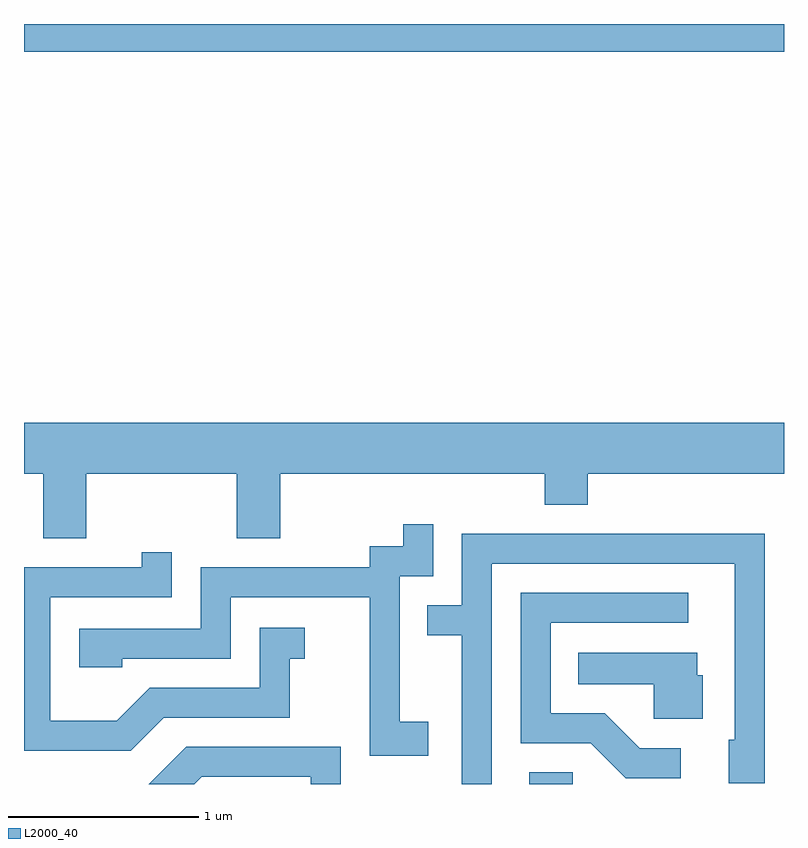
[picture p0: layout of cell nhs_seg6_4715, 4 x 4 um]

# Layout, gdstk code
import gdstk
lib = gdstk.Library(unit=1e-6, precision=1e-09)
def R(c, l, rs):  # rectangles x0, y0, x1, y1
    for r in rs: c.add(gdstk.rectangle(r[:2], r[2:], *l))
def P(c, l, *ps):  # polygons
    for p in ps: c.add(gdstk.Polygon(p, *l))
L2000_40 = (2000, 40)

nhs_seg6_4715 = lib.new_cell('nhs_seg6_4715')
R(nhs_seg6_4715, L2000_40, [(332.271,1566.162,332.499,1566.224), (329.611,1570.016,333.611,1570.162)])
P(nhs_seg6_4715, L2000_40, [(329.939,1567.796),(330.731,1567.796),(330.731,1567.456),(330.959,1567.456),(330.959,1567.796),(332.351,1567.796),(332.351,1567.631),(332.579,1567.631),(332.579,1567.796),(333.611,1567.796),(333.611,1568.064),(329.611,1568.064),(329.611,1567.796),(329.711,1567.796),(329.711,1567.456),(329.939,1567.456)],
  [(331.739,1566.489),(331.589,1566.489),(331.589,1567.256),(331.764,1567.256),(331.764,1567.528),(331.606,1567.528),(331.606,1567.414),(331.431,1567.414),(331.431,1567.304),(330.541,1567.304),(330.541,1566.979),(329.901,1566.979),(329.901,1566.776),(330.129,1566.776),(330.129,1566.821),(330.699,1566.821),(330.699,1567.146),(331.431,1567.146),(331.431,1566.311),(331.739,1566.311)],
  [(332.074,1567.321),(333.351,1567.321),(333.351,1566.394),(333.321,1566.394),(333.321,1566.166),(333.509,1566.166),(333.509,1567.479),(331.916,1567.479),(331.916,1567.104),(331.733,1567.104),(331.733,1566.946),(331.916,1566.946),(331.916,1566.162),(332.074,1566.162)],
  [(330.347,1566.511),(331.009,1566.511),(331.009,1566.821),(331.088,1566.821),(331.088,1566.984),(330.851,1566.984),(330.851,1566.669),(330.274,1566.669),(330.099,1566.494),(329.749,1566.494),(329.749,1567.146),(330.389,1567.146),(330.389,1567.383),(330.231,1567.383),(330.231,1567.304),(329.611,1567.304),(329.611,1566.336),(330.172,1566.336)],
  [(333.068,1566.349),(332.852,1566.349),(332.667,1566.534),(332.384,1566.534),(332.384,1567.011),(333.108,1567.011),(333.108,1567.169),(332.226,1567.169),(332.226,1566.376),(332.594,1566.376),(332.779,1566.191),(333.068,1566.191)],
  [(333.184,1566.734),(333.154,1566.734),(333.154,1566.854),(332.528,1566.854),(332.528,1566.686),(332.926,1566.686),(332.926,1566.506),(333.184,1566.506)],
  [(330.547,1566.201),(331.121,1566.201),(331.121,1566.162),(331.279,1566.162),(331.279,1566.359),(330.464,1566.359),(330.267,1566.162),(330.508,1566.162)])

lib.write_gds('nhs_seg6_4715.gds')
